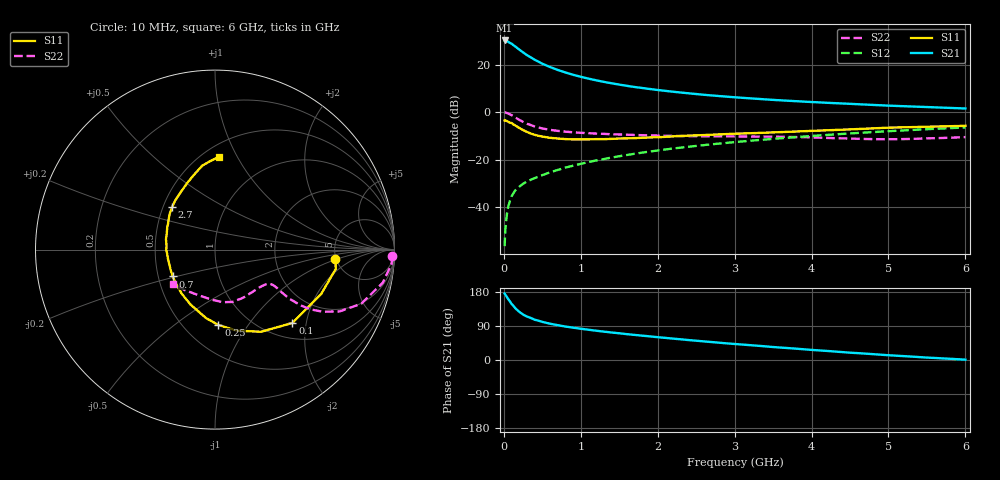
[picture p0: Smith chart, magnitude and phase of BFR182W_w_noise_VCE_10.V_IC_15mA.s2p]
! Infineon Technologies  Discrete & RF Semiconductors
! BFR182W
! VCE =  10. V,  IC =  15 mA
! Common Emitter S-Parameters:  Jan 2017
# GHz  S  MA  R  50
!  f  S11  S21  S12  S22
! GHz  MAG  ANG  MAG  ANG  MAG  ANG  MAG  ANG
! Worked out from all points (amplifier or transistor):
!   77 points, 10 MHz to 6 GHz, reference 50 ohm
!   highest |S21| = 30.3 dB at 10 MHz (marker M1)
!   |S21| within 3 dB of that: start of sweep to 166.8 MHz
!   unconditionally stable (mu >= 1): 930.7 MHz to 2.497 GHz
!   at 130 MHz: K = 0.35, MSG = 31.0 dB, |S12| = -33.9 dB
!   at 2.2 GHz: K = 1.01, MAG = 11.2 dB, |S12| = -15.3 dB
!   at 6 GHz: K = 0.86, MSG = 4.0 dB, |S12| = -6.4 dB
!   lowest NFmin = 1.25 dB at 450 MHz
!   S11 on the Smith chart (normalised r, x): 10 MHz: 4.92, -0.93; 100 MHz: 1.32, -1.67; 250 MHz: 0.72, -0.74; 700 MHz: 0.59, -0.19; 2.7 GHz: 0.56, +0.30; 6 GHz: 0.60, +0.85
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0.01  0.6723 -4.4  32.65 175.4  0.0015 71.2  0.9882 -2.1
0.02  0.6814 -9.1  32.59 172.4  0.0034 94.1  0.9872 -4.7
0.05  0.6412 -22.7  31.11 162.7  0.009 78.3  0.9525 -11.2
0.1  0.5942 -43.4  27.91 148.1  0.0168 74.0  0.869 -20.3
0.15  0.5253 -60.6  24.28 136.3  0.0226 68.0  0.7746 -26.4
0.2  0.4678 -75.0  20.99 127.2  0.0268 64.8  0.6924 -30.0
0.25  0.4204 -87.4  18.3 120.0  0.031 64.1  0.626 -32.1
0.3  0.3847 -97.5  16.03 114.7  0.0346 62.8  0.573 -33.0
0.4  0.3349 -114.1  12.81 106.4  0.0409 63.8  0.5011 -33.4
0.5  0.3072 -127.4  10.57 100.6  0.0472 64.7  0.4554 -32.9
0.6  0.2891 -138.4  8.998 95.8  0.054 65.2  0.4258 -32.3
0.7  0.2794 -147.6  7.803 91.9  0.0607 67.0  0.4049 -31.7
0.9  0.2673 -162.8  6.165 85.3  0.0746 67.9  0.3783 -31.4
1.1  0.2676 -174.6  5.121 79.9  0.0891 68.8  0.362 -31.9
1.3  0.271 175.5  4.37 74.9  0.1032 68.6  0.3499 -33.1
1.5  0.2797 167.8  3.827 70.5  0.1183 68.6  0.3397 -35.1
2.1  0.303 149.1  2.826 58.4  0.1641 66.2  0.3194 -44.2
2.7  0.3357 135.3  2.264 47.4  0.2106 62.6  0.3109 -56.1
3.1  0.3566 127.0  2.017 40.8  0.2425 59.9  0.3081 -64.0
4.1  0.4105 110.5  1.614 25.3  0.3243 51.8  0.2916 -84.1
5.1  0.4772 97.4  1.36 11.4  0.4067 42.6  0.2706 -113.5
6  0.5173 87.4  1.201 0.9  0.4779 33.7  0.2998 -140.6
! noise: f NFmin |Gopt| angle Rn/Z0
0.45  1.25  0.04  146  0.15
0.9  1.33  0.05  146  0.15
1.9  1.82  0.24  -148  0.15
2.4  2.07  0.24  -133  0.22
